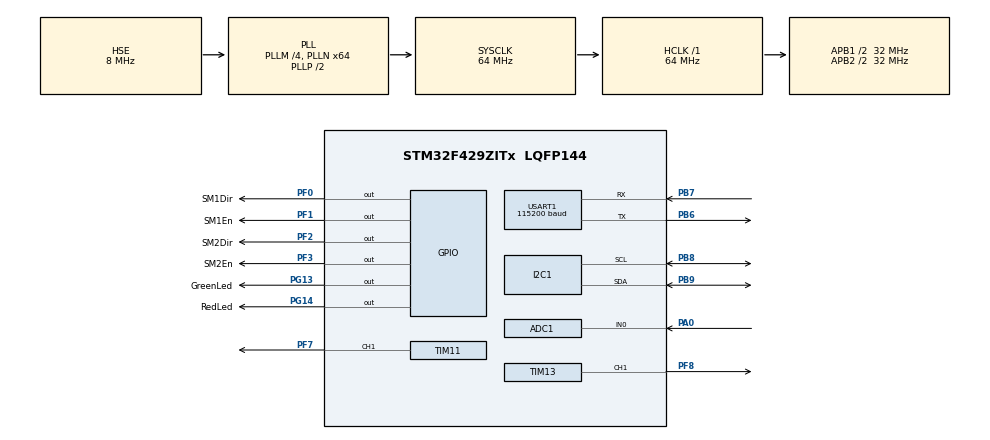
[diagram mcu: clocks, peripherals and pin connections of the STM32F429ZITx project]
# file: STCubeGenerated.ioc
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ADC1.Channel-12\#ChannelRegularConversion=ADC_CHANNEL_0
ADC1.ClockPrescaler=ADC_CLOCK_SYNC_PCLK_DIV2
ADC1.ContinuousConvMode=DISABLE
ADC1.DMAContinuousRequests=ENABLE
ADC1.DataAlign=ADC_DATAALIGN_RIGHT
ADC1.DiscontinuousConvMode=ENABLE
ADC1.EOCSelection=ADC_EOC_SEQ_CONV
ADC1.EnableAnalogWatchDog=false
ADC1.ExternalTrigConv=ADC_SOFTWARE_START
ADC1.ExternalTrigConvEdge=ADC_EXTERNALTRIGCONVEDGE_NONE
ADC1.InjNumberOfConversion=0
ADC1.NbrOfConversion=1
ADC1.NbrOfConversionFlag=1
ADC1.NbrOfDiscConversion=1
ADC1.Rank-12\#ChannelRegularConversion=1
ADC1.Resolution=ADC_RESOLUTION_12B
ADC1.SamplingTime-12\#ChannelRegularConversion=ADC_SAMPLETIME_56CYCLES
ADC1.ScanConvMode=DISABLE
ADC1.master=1
Dma.ADC1.0.Direction=DMA_PERIPH_TO_MEMORY
Dma.ADC1.0.FIFOMode=DMA_FIFOMODE_DISABLE
Dma.ADC1.0.Instance=DMA2_Stream0
Dma.ADC1.0.MemDataAlignment=DMA_MDATAALIGN_HALFWORD
Dma.ADC1.0.MemInc=DMA_MINC_ENABLE
Dma.ADC1.0.Mode=DMA_CIRCULAR
Dma.ADC1.0.PeriphDataAlignment=DMA_PDATAALIGN_HALFWORD
Dma.ADC1.0.PeriphInc=DMA_PINC_DISABLE
Dma.ADC1.0.Priority=DMA_PRIORITY_MEDIUM
Dma.Request0=ADC1
FREERTOS.INCLUDE_vTaskDelayUntil=1
FREERTOS.Tasks01=defaultTask,-3,128,StartDefaultTask,Default,NULL,Dynamic,NULL,NULL;GreenLedBlink,-2,128,GreenLedBlinkFunction,Default,NULL,Dynamic,NULL,NULL;taskCLI,1,256,CLIFunction,Default,NULL,Dynamic,NULL,NULL;DataProcess,3,256,DataProcessFunction,Default,NULL,Dynamic,NULL,NULL;DataSendLV,0,512,DataSendLVFunction,Default,NULL,Dynamic,NULL,NULL;Adc,-1,128,AdcTask,Default,NULL,Dynamic,NULL,NULL
I2C1.I2C_Mode=I2C_Fast
Mcu.Family=STM32F4
Mcu.Name=STM32F429ZITx
Mcu.Package=LQFP144
NVIC.DMA2_Stream0_IRQn=true\:5\:0\:false\:false\:true\:true\:false
NVIC.PriorityGroup=NVIC_PRIORITYGROUP_4
NVIC.TIM1_UP_TIM10_IRQn=true\:0\:0\:false\:false\:true\:false\:true
NVIC.TimeBase=TIM1_UP_TIM10_IRQn
NVIC.TimeBaseIP=TIM1
PA0/WKUP.Signal=ADCx_IN0
PB6.Mode=Asynchronous
PB6.Signal=USART1_TX
PB7.Mode=Asynchronous
PB7.Signal=USART1_RX
PB8.Mode=I2C
PB8.Signal=I2C1_SCL
PB9.Mode=I2C
PB9.Signal=I2C1_SDA
PF0.GPIO_Label=SM1Dir
PF0.Signal=GPIO_Output
PF1.GPIO_Label=SM1En
PF1.GPIO_Speed=GPIO_SPEED_FREQ_HIGH
PF1.PinState=GPIO_PIN_RESET
PF1.Signal=GPIO_Output
PF2.GPIO_Label=SM2Dir
PF2.Signal=GPIO_Output
PF3.GPIO_Label=SM2En
PF3.GPIO_Speed=GPIO_SPEED_FREQ_HIGH
PF3.PinState=GPIO_PIN_RESET
PF3.Signal=GPIO_Output
PF7.GPIO_Speed=GPIO_SPEED_FREQ_HIGH
PF7.Signal=S_TIM11_CH1
PF8.GPIO_Speed=GPIO_SPEED_FREQ_HIGH
PF8.Signal=S_TIM13_CH1
PG13.GPIO_Label=GreenLed
PG13.Signal=GPIO_Output
PG14.GPIO_Label=RedLed
PG14.Signal=GPIO_Output
PH0/OSC_IN.Mode=HSE-External-Oscillator
PH0/OSC_IN.Signal=RCC_OSC_IN
PH1/OSC_OUT.Mode=HSE-External-Oscillator
PH1/OSC_OUT.Signal=RCC_OSC_OUT
ProjectManager.HeapSize=0x200
ProjectManager.StackSize=0x400
ProjectManager.TargetToolchain=MDK-ARM V5
RCC.48MHZClocksFreq_Value=32000000
RCC.AHBFreq_Value=64000000
RCC.APB1CLKDivider=RCC_HCLK_DIV2
RCC.APB1Freq_Value=32000000
RCC.APB1TimFreq_Value=64000000
RCC.APB2CLKDivider=RCC_HCLK_DIV2
RCC.APB2Freq_Value=32000000
RCC.APB2TimFreq_Value=64000000
RCC.CortexFreq_Value=64000000
RCC.HCLKFreq_Value=64000000
RCC.HSE_VALUE=8000000
RCC.HSI_VALUE=16000000
RCC.LSE_VALUE=32768
RCC.PLLM=4
RCC.PLLN=64
RCC.PLLSourceVirtual=RCC_PLLSOURCE_HSE
RCC.SYSCLKFreq_VALUE=64000000
RCC.SYSCLKSource=RCC_SYSCLKSOURCE_PLLCLK
RCC.VCOOutputFreq_Value=128000000
SH.ADCx_IN0.0=ADC1_IN0,IN0
SH.S_TIM11_CH1.0=TIM11_CH1,PWM Generation1 CH1
SH.S_TIM13_CH1.0=TIM13_CH1,PWM Generation1 CH1
TIM11.Channel=TIM_CHANNEL_1
TIM11.Period=10-1
TIM11.Prescaler=640-1
TIM11.Pulse=0
TIM13.Channel=TIM_CHANNEL_1
TIM13.Period=10-1
TIM13.Prescaler=640-1
USART1.BaudRate=115200
USART1.VirtualMode=VM_ASYNC
VP_FREERTOS_VS_ENABLE.Mode=Enabled
VP_SYS_VS_tim1.Mode=TIM1
VP_TIM11_VS_ClockSourceINT.Mode=Enable_Timer
VP_TIM13_VS_ClockSourceINT.Mode=Enable_Timer
board=STCubeGenerated

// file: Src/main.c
/**
  ******************************************************************************
  * File Name          : main.c
  * Description        : Main program body
  ******************************************************************************
  * This notice applies to any and all portions of this file
  * that are not between comment pairs USER CODE BEGIN and
  * USER CODE END. Other portions of this file, whether
  * inserted by the user or by software development tools
  * are owned by their respective copyright owners.
  *
  * Copyright (c) 2018 STMicroelectronics International N.V.
  * All rights reserved.
  *
  * Redistribution and use in source and binary forms, with or without
  * modification, are permitted, provided that the following conditions are met:
  *
  * 1. Redistribution of source code must retain the above copyright notice,
  *    this list of conditions and the following disclaimer.
  * 2. Redistributions in binary form must reproduce the above copyright notice,
  *    this list of conditions and the following disclaimer in the documentation
  *    and/or other materials provided with the distribution.
  * 3. Neither the name of STMicroelectronics nor the names of other
  *    contributors to this software may be used to endorse or promote products
  *    derived from this software without specific written permission.
  * 4. This software, including modifications and/or derivative works of this
  *    software, must execute solely and exclusively on microcontroller or
  *    microprocessor devices manufactured by or for STMicroelectronics.
  * 5. Redistribution and use of this software other than as permitted under
  *    this license is void and will automatically terminate your rights under
  *    this license.
  *
  * THIS SOFTWARE IS PROVIDED BY STMICROELECTRONICS AND CONTRIBUTORS "AS IS"
  * AND ANY EXPRESS, IMPLIED OR STATUTORY WARRANTIES, INCLUDING, BUT NOT
  * LIMITED TO, THE IMPLIED WARRANTIES OF MERCHANTABILITY, FITNESS FOR A
  * PARTICULAR PURPOSE AND NON-INFRINGEMENT OF THIRD PARTY INTELLECTUAL PROPERTY
  * RIGHTS ARE DISCLAIMED TO THE FULLEST EXTENT PERMITTED BY LAW. IN NO EVENT
  * SHALL STMICROELECTRONICS OR CONTRIBUTORS BE LIABLE FOR ANY DIRECT, INDIRECT,
  * INCIDENTAL, SPECIAL, EXEMPLARY, OR CONSEQUENTIAL DAMAGES (INCLUDING, BUT NOT
  * LIMITED TO, PROCUREMENT OF SUBSTITUTE GOODS OR SERVICES; LOSS OF USE, DATA,
  * OR PROFITS; OR BUSINESS INTERRUPTION) HOWEVER CAUSED AND ON ANY THEORY OF
  * LIABILITY, WHETHER IN CONTRACT, STRICT LIABILITY, OR TORT (INCLUDING
  * NEGLIGENCE OR OTHERWISE) ARISING IN ANY WAY OUT OF THE USE OF THIS SOFTWARE,
  * EVEN IF ADVISED OF THE POSSIBILITY OF SUCH DAMAGE.
  *
  ******************************************************************************
  */

#include "main.h"
#include "stm32f4xx_hal.h"
#include "cmsis_os.h"
#include "adc.h"
#include "dma.h"
#include "i2c.h"
#include "tim.h"
#include "usart.h"
#include "gpio.h"

/* USER CODE BEGIN PV */
/* Private variables ---------------------------------------------------------*/

/* USER CODE END PV */

void SystemClock_Config(void);
void MX_FREERTOS_Init(void);

/* USER CODE BEGIN PFP */
/* Private function prototypes -----------------------------------------------*/

/* USER CODE END PFP */

/* USER CODE BEGIN 0 */
void __aeabi_assert(const char *expr, const char *file, int line) {
   // printf("ASSERT ERROR in file %s at line %d.\nExpression: %s\nGoing into infinite loop.\n", file, line, expr);
    while(1) {
        ;
    }
}
/* USER CODE END 0 */

int main(void)
{

  /* MCU Configuration----------------------------------------------------------*/

  /* Reset of all peripherals, Initializes the Flash interface and the Systick. */
  HAL_Init();

  /* Configure the system clock */
  SystemClock_Config();

  /* Initialize all configured peripherals */
  MX_GPIO_Init();
  MX_DMA_Init();
  MX_TIM11_Init();
  MX_USART1_UART_Init();
  MX_I2C1_Init();
  MX_ADC1_Init();
  MX_TIM13_Init();

  /* USER CODE BEGIN 2 */

	 TIM13->CCR1 = 2;   //FILL FACTOR TIM13 SM1 4 -> 50%
	 TIM11->CCR1 = 2;   //FILL FACTOR TIM11 SM2

	 HAL_UART_MspInit(&huart1);   //CONTINEU UART INIT

	 HAL_TIM_PWM_Start(&htim11, TIM_CHANNEL_1); // TURN ON TIMER 11 FOR SM2
	 HAL_TIM_PWM_Start(&htim13, TIM_CHANNEL_1); // TURN ON TIMER 13 FOR SM1

	 HAL_GPIO_WritePin(SM1En_GPIO_Port, SM1En_Pin, GPIO_PIN_RESET);
	 HAL_GPIO_WritePin(SM2En_GPIO_Port, SM2En_Pin, GPIO_PIN_RESET);

  /* USER CODE END 2 */

  /* Call init function for freertos objects (in freertos.c) */
  MX_FREERTOS_Init();

  /* Start scheduler */
  osKernelStart();

  /* We should never get here as control is now taken by the scheduler */

  /* Infinite loop */
  while (1)
  {

  }

}

/** System Clock Configuration
*/
void SystemClock_Config(void)
{

  RCC_OscInitTypeDef RCC_OscInitStruct;
  RCC_ClkInitTypeDef RCC_ClkInitStruct;

    /**Configure the main internal regulator output voltage
    */
  __HAL_RCC_PWR_CLK_ENABLE();

  __HAL_PWR_VOLTAGESCALING_CONFIG(PWR_REGULATOR_VOLTAGE_SCALE3);

    /**Initializes the CPU, AHB and APB busses clocks
    */
  RCC_OscInitStruct.OscillatorType = RCC_OSCILLATORTYPE_HSE;
  RCC_OscInitStruct.HSEState = RCC_HSE_ON;
  RCC_OscInitStruct.PLL.PLLState = RCC_PLL_ON;
  RCC_OscInitStruct.PLL.PLLSource = RCC_PLLSOURCE_HSE;
  RCC_OscInitStruct.PLL.PLLM = 4;
  RCC_OscInitStruct.PLL.PLLN = 64;
  RCC_OscInitStruct.PLL.PLLP = RCC_PLLP_DIV2;
  RCC_OscInitStruct.PLL.PLLQ = 4;
  if (HAL_RCC_OscConfig(&RCC_OscInitStruct) != HAL_OK)
  {
    _Error_Handler(__FILE__, __LINE__);
  }

    /**Initializes the CPU, AHB and APB busses clocks
    */
  RCC_ClkInitStruct.ClockType = RCC_CLOCKTYPE_HCLK|RCC_CLOCKTYPE_SYSCLK
                              |RCC_CLOCKTYPE_PCLK1|RCC_CLOCKTYPE_PCLK2;
  RCC_ClkInitStruct.SYSCLKSource = RCC_SYSCLKSOURCE_PLLCLK;
  RCC_ClkInitStruct.AHBCLKDivider = RCC_SYSCLK_DIV1;
  RCC_ClkInitStruct.APB1CLKDivider = RCC_HCLK_DIV2;
  RCC_ClkInitStruct.APB2CLKDivider = RCC_HCLK_DIV2;

  if (HAL_RCC_ClockConfig(&RCC_ClkInitStruct, FLASH_LATENCY_2) != HAL_OK)
  {
    _Error_Handler(__FILE__, __LINE__);
  }

    /**Configure the Systick interrupt time
    */
  HAL_SYSTICK_Config(HAL_RCC_GetHCLKFreq()/1000);

    /**Configure the Systick
    */
  HAL_SYSTICK_CLKSourceConfig(SYSTICK_CLKSOURCE_HCLK);

  /* SysTick_IRQn interrupt configuration */
  HAL_NVIC_SetPriority(SysTick_IRQn, 15, 0);
}

void HAL_TIM_PeriodElapsedCallback(TIM_HandleTypeDef *htim)
{
  if (htim->Instance == TIM1) {
    HAL_IncTick();
  }
}

void _Error_Handler(char * file, int line)
{
  while(1)
  {
  }
}

/************************ (C) COPYRIGHT STMicroelectronics *****END OF FILE****/

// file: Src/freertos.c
/**
  ******************************************************************************
  * File Name          : freertos.c
  * Description        : Code for freertos applications
  ******************************************************************************
  * This notice applies to any and all portions of this file
  * that are not between comment pairs USER CODE BEGIN and
  * USER CODE END. Other portions of this file, whether
  * inserted by the user or by software development tools
  * are owned by their respective copyright owners.
  *
  * Copyright (c) 2018 STMicroelectronics International N.V.
  * All rights reserved.
  *
  * Redistribution and use in source and binary forms, with or without
  * modification, are permitted, provided that the following conditions are met:
  *
  * 1. Redistribution of source code must retain the above copyright notice,
  *    this list of conditions and the following disclaimer.
  * 2. Redistributions in binary form must reproduce the above copyright notice,
  *    this list of conditions and the following disclaimer in the documentation
  *    and/or other materials provided with the distribution.
  * 3. Neither the name of STMicroelectronics nor the names of other
  *    contributors to this software may be used to endorse or promote products
  *    derived from this software without specific written permission.
  * 4. This software, including modifications and/or derivative works of this
  *    software, must execute solely and exclusively on microcontroller or
  *    microprocessor devices manufactured by or for STMicroelectronics.
  * 5. Redistribution and use of this software other than as permitted under
  *    this license is void and will automatically terminate your rights under
  *    this license.
  *
  * THIS SOFTWARE IS PROVIDED BY STMICROELECTRONICS AND CONTRIBUTORS "AS IS"
  * AND ANY EXPRESS, IMPLIED OR STATUTORY WARRANTIES, INCLUDING, BUT NOT
  * LIMITED TO, THE IMPLIED WARRANTIES OF MERCHANTABILITY, FITNESS FOR A
  * PARTICULAR PURPOSE AND NON-INFRINGEMENT OF THIRD PARTY INTELLECTUAL PROPERTY
  * RIGHTS ARE DISCLAIMED TO THE FULLEST EXTENT PERMITTED BY LAW. IN NO EVENT
  * SHALL STMICROELECTRONICS OR CONTRIBUTORS BE LIABLE FOR ANY DIRECT, INDIRECT,
  * INCIDENTAL, SPECIAL, EXEMPLARY, OR CONSEQUENTIAL DAMAGES (INCLUDING, BUT NOT
  * LIMITED TO, PROCUREMENT OF SUBSTITUTE GOODS OR SERVICES; LOSS OF USE, DATA,
  * OR PROFITS; OR BUSINESS INTERRUPTION) HOWEVER CAUSED AND ON ANY THEORY OF
  * LIABILITY, WHETHER IN CONTRACT, STRICT LIABILITY, OR TORT (INCLUDING
  * NEGLIGENCE OR OTHERWISE) ARISING IN ANY WAY OUT OF THE USE OF THIS SOFTWARE,
  * EVEN IF ADVISED OF THE POSSIBILITY OF SUCH DAMAGE.
  *
  ******************************************************************************
  */

#include "FreeRTOS.h"
#include "task.h"
#include "cmsis_os.h"

/* USER CODE BEGIN Includes */
#include "gpio.h"
#include "usart.h"
#include "cli.h"
#include "commands.h"
#include "functions.h"
#include "math.h"
#include "adc.h"
#include "IS_MPU6050.h"
#include "IS_complementaryFilter.h"
#include "IS_FIR.h"
#include "IS_PID.h"
/* USER CODE END Includes */

osThreadId defaultTaskHandle;
osThreadId GreenLedBlinkHandle;
osThreadId taskCLIHandle;
osThreadId DataProcessHandle;
osThreadId DataSendLVHandle;
osThreadId AdcHandle;

/* USER CODE BEGIN Variables */
extern ADC_HandleTypeDef hadc1;
uint32_t ValueADC1=0; //variable stores adv value (battery)

//GLOBAL VARIABLES
bool DeviceOn=false;
uint8_t SampleRate=2;
int32_t SM_Move_Var =0;
int32_t SM_Turn_Var =0;

//GLOBAL STRUCTURES
IS_MPU6050_struct MPU6050_Data;
IS_CompFilter_struct CompFilter_Data;
IS_PID_struct PID1_Data;
IS_PID_struct PID2_Data;

int32_t PID_outputFiltered=0;

/* USER CODE END Variables */

void StartDefaultTask(void const * argument);
void GreenLedBlinkFunction(void const * argument);
void CLIFunction(void const * argument);
void DataProcessFunction(void const * argument);
void DataSendLVFunction(void const * argument);
void AdcTask(void const * argument);

void MX_FREERTOS_Init(void); /* (MISRA C 2004 rule 8.1) */

/* Hook prototypes */

/* Init FreeRTOS */

void MX_FREERTOS_Init(void) {

  /* Create the thread(s) */
  /* definition and creation of defaultTask */
  osThreadDef(defaultTask, StartDefaultTask, osPriorityIdle, 0, 128);
  defaultTaskHandle = osThreadCreate(osThread(defaultTask), NULL);

  /* definition and creation of GreenLedBlink */
  osThreadDef(GreenLedBlink, GreenLedBlinkFunction, osPriorityLow, 0, 128);
  GreenLedBlinkHandle = osThreadCreate(osThread(GreenLedBlink), NULL);

  /* definition and creation of taskCLI */
  osThreadDef(taskCLI, CLIFunction, osPriorityAboveNormal, 0, 256);
  taskCLIHandle = osThreadCreate(osThread(taskCLI), NULL);

  /* definition and creation of DataProcess */
  osThreadDef(DataProcess, DataProcessFunction, osPriorityRealtime, 0, 2048);
  DataProcessHandle = osThreadCreate(osThread(DataProcess), NULL);

  /* definition and creation of DataSendLV */
  osThreadDef(DataSendLV, DataSendLVFunction, osPriorityNormal, 0, 512);
  DataSendLVHandle = osThreadCreate(osThread(DataSendLV), NULL);

  /* definition and creation of Adc */
  osThreadDef(Adc, AdcTask, osPriorityBelowNormal, 0, 128);
  AdcHandle = osThreadCreate(osThread(Adc), NULL);

  /* USER CODE BEGIN RTOS_THREADS */
  /* add threads, ... */

	//vTaskSuspend(DataProcessHandle);       //wylaczam odpowiednie taski
	vTaskSuspend(DataSendLVHandle);
	vTaskSuspend(AdcHandle);

  /* USER CODE END RTOS_THREADS */

}

/* StartDefaultTask function */
void StartDefaultTask(void const * argument)
{

  for(;;)
  {
    osDelay(1);
  }
}

/* GreenLedBlinkFunction function */
void GreenLedBlinkFunction(void const * argument)
{
  /* USER CODE BEGIN GreenLedBlinkFunction */

  /* Infinite loop */
  for(;;)
  {
		HAL_GPIO_TogglePin(GPIOG, GPIO_PIN_13);
		USART_WriteString("test\n");
		osDelay(500);
  }
  /* USER CODE END GreenLedBlinkFunction */
}

/* CLIFunction function */
void CLIFunction(void const * argument)
{
  /* USER CODE BEGIN CLIFunction */

				CLI_CommandItem item_LED = { .callback = commandLED,
                                  .commandName = "LED",
                                  .description = "steruje dioda czerwona"};

				CLI_CommandItem item_SM_Move = { .callback = commandSM_Move,
                                  .commandName = "SM_Move",
                                  .description = "steruje silnikam krokowymi"};

				CLI_CommandItem item_SM_Turn = { .callback = commandSM_Turn,
                                  .commandName = "SM_Turn",
                                  .description = "Skret silnikow krokowych"};

        CLI_CommandItem item_PID_Kp = { .callback = commandPID_Kp,
                                  .commandName = "PID_Kp",
                                  .description = "Zmienia nastawe P regulatora PID"};

        CLI_CommandItem item_PID_Ki = { .callback = commandPID_Ki,
                                  .commandName = "PID_Ki",
                                  .description = "Zmienia nastawe I regulatora PID"};

        CLI_CommandItem item_PID_Kd = { .callback = commandPID_Kd,
                                  .commandName = "PID_Kd",
                                  .description = "Zmienia nastawe D regulatora PID"};

        CLI_CommandItem item_PID2_Kp = { .callback = commandPID2_Kp,
                                  .commandName = "PID2_Kp",
                                  .description = "Zmienia nastawe P regulatora PID2"};

        CLI_CommandItem item_PID2_Ki = { .callback = commandPID2_Ki,
                                  .commandName = "PID2_Ki",
                                  .description = "Zmienia nastawe I regulatora PID2"};

        CLI_CommandItem item_PID2_Kd = { .callback = commandPID2_Kd,
                                  .commandName = "PID2_Kd",
                                  .description = "Zmienia nastawe D regulatora PID2"};

        CLI_CommandItem item_Offset_Ang = { .callback = commandOffset_Ang,
                                  .commandName = "Offset_Ang",
                                  .description = "Kalibruje kat przy ktorym robot utrzymuje rownowage"};

        CLI_CommandItem item_CF_A = { .callback = commandCF_A,
                                  .commandName = "CF_A",
                                  .description = "Zmienia nastawe A filtra komplementarnego"};

        CLI_CommandItem item_SampleRate = { .callback = commandSampleRate,
                                  .commandName = "SampleRate",
                                  .description = "Zmienia nastawe iSampleRate"};

        CLI_CommandItem item_DeviceOn = { .callback = commandDeviceOn,
                                  .commandName = "DeviceOn",
                                  .description = "Wlacza lub wylacza robota"};

        CLI_CommandItem item_PID_AntiWindup = { .callback = commandPID_AntiWindup,
                                  .commandName = "PID_AntiWindup",
                                  .description = "Zmienia zakres pracy Filtru AntiWindup czlonu calkojucego PID"};

        CLI_CommandItem item_PID2_AntiWindup = { .callback = commandPID2_AntiWindup,
                                  .commandName = "PID2_AntiWindup",
                                  .description = "Zmienia zakres pracy Filtru AntiWindup czlonu calkojucego PID2"};
///////////////////

				if(CLI_AddCommand(&item_LED) == false){
            USART_WriteString("ERROR in adding new item.\n\r");
        }
				if(CLI_AddCommand(&item_SM_Move) == false){
            USART_WriteString("ERROR in adding new item.\n\r");
        }
				if(CLI_AddCommand(&item_SM_Turn) == false){
            USART_WriteString("ERROR in adding new item.\n\r");
        }
				if(CLI_AddCommand(&item_PID_Kp) == false){
            USART_WriteString("ERROR in adding new item.\n\r");
        }
				if(CLI_AddCommand(&item_PID_Ki) == false){
            USART_WriteString("ERROR in adding new item.\n\r");
        }
				if(CLI_AddCommand(&item_PID_Kd) == false){
            USART_WriteString("ERROR in adding new item.\n\r");
        }
				if(CLI_AddCommand(&item_PID2_Kp) == false){
            USART_WriteString("ERROR in adding new item.\n\r");
        }
				if(CLI_AddCommand(&item_PID2_Ki) == false){
            USART_WriteString("ERROR in adding new item.\n\r");
        }
				if(CLI_AddCommand(&item_PID2_Kd) == false){
            USART_WriteString("ERROR in adding new item.\n\r");
        }
				if(CLI_AddCommand(&item_Offset_Ang) == false){
            USART_WriteString("ERROR in adding new item.\n\r");
        }
				if(CLI_AddCommand(&item_CF_A) == false){
            USART_WriteString("ERROR in adding new item.\n\r");
        }
				if(CLI_AddCommand(&item_SampleRate) == false){
            USART_WriteString("ERROR in adding new item.\n\r");
        }
				if(CLI_AddCommand(&item_DeviceOn) == false){
            USART_WriteString("ERROR in adding new item.\n\r");
        }
				if(CLI_AddCommand(&item_PID_AntiWindup) == false){
            USART_WriteString("ERROR in adding new item.\n\r");
        }
				if(CLI_AddCommand(&item_PID2_AntiWindup) == false){
            USART_WriteString("ERROR in adding new item.\n\r");
        }
  /* Infinite loop *///
  for(;;)
  {
		CLI_Proc();
    osDelay(1);
  }
  /* USER CODE END CLIFunction */
}

/* DataProcessFunction function */
void DataProcessFunction(void const * argument)
{
  /* USER CODE BEGIN DataProcessFunction */

	 //Initialize
		IS_MPU6050_Initialize(&MPU6050_Data, MPU6050_Accelerometer_2G, MPU6050_Gyroscope_250s);
		IS_CompFilter_initialize(&CompFilter_Data);
		IS_PID_initialize(&PID1_Data);
		IS_PID_initialize(&PID2_Data);

		TickType_t xLastWakeTime;
		xLastWakeTime = xTaskGetTickCount();

		float dt=(float)SampleRate/1000;

//MPU6050 important Data
		static float ay1=0;
		static float az1=0;
		static float gx1=0;

//PID1_CONFIGURATION
			PID1_Data.PID_KP=800;
			PID1_Data.PID_KI=0;
			PID1_Data.PID_KD=6;
			PID1_Data.PID_AntiWindup=100;
			PID1_Data.PID_outLimit=2340;

//PID2_CONFIGURATION
			PID2_Data.PID_KP=0.3;
			PID2_Data.PID_KI=0.003;
			PID2_Data.PID_KD=0;
			PID2_Data.PID_AntiWindup=300;
			PID2_Data.PID_outLimit=5;

	  /* Infinite loop */
  for(;;)
  {
	  vTaskDelayUntil(&xLastWakeTime,SampleRate);

//Read data from MPU6050 and save to varibles//////////////////////////////////////////////////////////////////////////////
		IS_MPU6050_ReadALL(&MPU6050_Data);

		ay1 = MPU6050_Data.Accelerometer_Y*2.0f/32768.0f;
		az1 = MPU6050_Data.Accelerometer_Z*2.0f/32768.0f;
		gx1 = -1*MPU6050_Data.Gyroscope_X*250.0f/32768.0f-3.80f;

//COMPLEMENTARY FILTER////////////////////////////////////////////////////////////////////////////////////////////////////
	  IS_CompFilter_calculate(&CompFilter_Data, az1, ay1, gx1, dt);

//PID1///////////////////////////////////////////////////////////////////////////////////////////////////////////////////
	  IS_PID_calculate(&PID1_Data, PID2_Data.PID_output-CompFilter_Data.roll, dt);

	  PID_outputFiltered=IS_FIR_calculate(PID1_Data.PID_output);

//PID2//////////////////////////////////////////////////////////////////////////////////////////////////////////////////
	  IS_PID_calculate(&PID2_Data, (SM_Move_Var*10)+PID_outputFiltered, dt);

//PID OUTPUT TO MOTORS/////////////////////////////////////////////////////////////////////////////////////////////////////
	  if (DeviceOn && fabs(CompFilter_Data.roll)<50)					 //TURN ON MOTORS
 	  {
	  	SM_Move(PID1_Data.PID_output,SM_Turn_Var,true);
	  }
	  else
    {
	  	SM_Move(0,0,false);
	  }

  }
  /* USER CODE END DataProcessFunction */
}

/* DataSendLVFunction function */
void DataSendLVFunction(void const * argument)
{
  /* USER CODE BEGIN DataSendLVFunction */

	static char comp_sprintf_buffer[256]; //BUFFER TO SEND LABVIEW
	static char pid_sprintf_buffer[256];  //BUFFER TO SEND LABVIEW

  /* Infinite loop */
  for(;;)
  {
		sprintf(comp_sprintf_buffer,"ch1:%.1f %.1f %.1f\n",CompFilter_Data.roll , CompFilter_Data.rollAcc , (-1*MPU6050_Data.Gyroscope_X*250.0f/32768.0f-3.80f));
		USART_WriteString(comp_sprintf_buffer);
	 	osDelay(10);

		//sprintf(pid_sprintf_buffer,"ch2:%.0f %d %.0f\n",20.5, PID_outputFiltered, PID1_Data.PID_output);
		sprintf(pid_sprintf_buffer,"ch2:%.0f %.0f %.0f\n",PID2_Data.PID_integral, PID2_Data.PID_output*100, PID1_Data.PID_output);
		USART_WriteString(pid_sprintf_buffer);
    osDelay(10);
  }
  /* USER CODE END DataSendLVFunction */
}

/* AdcTask function */
void AdcTask(void const * argument)
{
  /* USER CODE BEGIN AdcTask */

	 static char batt_sprintf_buffer[32];
	 float ADC_Vref=2.9155; 								//max voltage by divider 13,498 - 4,630 razy wieksze (4.476)
	 float ADC_VrefBattery=ADC_Vref*4.629f;
	 float ADC_VBattery=0;
   static float ADC_Resolution = 4096;

  /* Infinite loop */
  for(;;)
  {
		HAL_ADC_Start_DMA(&hadc1, &ValueADC1, 1); 								//ADC Measurement
	  osDelay(100);																							//Wait to done reading
		ADC_VBattery=(ValueADC1*ADC_VrefBattery)/ADC_Resolution;
		sprintf(batt_sprintf_buffer,"bat:%.2f\n",ADC_VBattery);
		USART_WriteString(batt_sprintf_buffer);
    osDelay(3900);
  }
  /* USER CODE END AdcTask */
}

/************************ (C) COPYRIGHT STMicroelectronics *****END OF FILE****/
